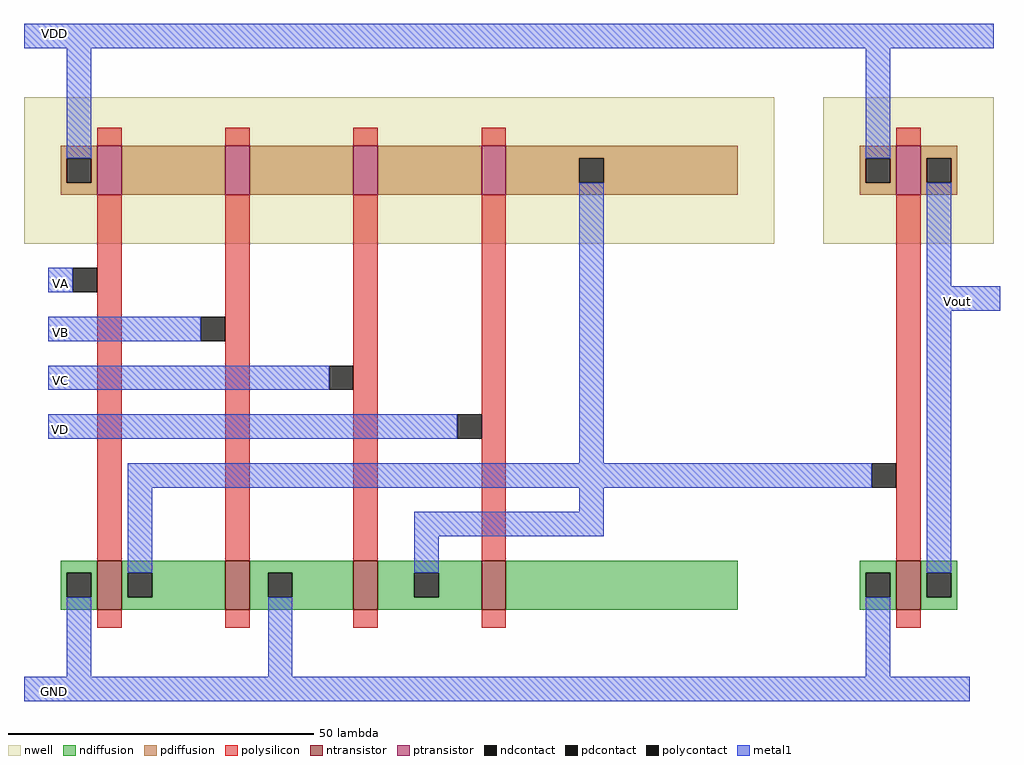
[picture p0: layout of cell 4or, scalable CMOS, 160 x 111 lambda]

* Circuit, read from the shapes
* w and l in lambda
.subckt 4or GND VA VB VC VD VDD Vout
M1 n1 VA GND VSUBS nfet w=8 l=4
M2 GND VB n1 VSUBS nfet w=8 l=4
M3 n1 VC GND VSUBS nfet w=8 l=4
M4 n2 VD n1 VSUBS nfet w=8 l=4
M5 Vout n1 GND VSUBS nfet w=8 l=4
M6 n3 VA VDD n4 pfet w=8 l=4
M7 n5 VB n3 n4 pfet w=8 l=4
M8 n6 VC n5 n4 pfet w=8 l=4
M9 n1 VD n6 n4 pfet w=8 l=4
M10 Vout n1 VDD n7 pfet w=8 l=4
.ends

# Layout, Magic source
magic
tech scmos
<< nwell >>
rect 161 -15 284 9
rect 292 -15 320 9
<< ntransistor >>
rect 173 -75 177 -67
rect 194 -75 198 -67
rect 215 -75 219 -67
rect 236 -75 240 -67
rect 304 -75 308 -67
<< ptransistor >>
rect 173 -7 177 1
rect 194 -7 198 1
rect 215 -7 219 1
rect 236 -7 240 1
rect 304 -7 308 1
<< ndiffusion >>
rect 167 -69 173 -67
rect 167 -73 168 -69
rect 172 -73 173 -69
rect 167 -75 173 -73
rect 177 -69 194 -67
rect 177 -73 178 -69
rect 182 -73 194 -69
rect 177 -75 194 -73
rect 198 -69 215 -67
rect 198 -73 201 -69
rect 205 -73 215 -69
rect 198 -75 215 -73
rect 219 -69 236 -67
rect 219 -73 225 -69
rect 229 -73 236 -69
rect 219 -75 236 -73
rect 240 -75 278 -67
rect 298 -69 304 -67
rect 298 -73 299 -69
rect 303 -73 304 -69
rect 298 -75 304 -73
rect 308 -69 314 -67
rect 308 -73 309 -69
rect 313 -73 314 -69
rect 308 -75 314 -73
<< pdiffusion >>
rect 167 -1 173 1
rect 167 -5 168 -1
rect 172 -5 173 -1
rect 167 -7 173 -5
rect 177 -7 194 1
rect 198 -7 215 1
rect 219 -7 236 1
rect 240 -1 278 1
rect 240 -5 252 -1
rect 256 -5 278 -1
rect 240 -7 278 -5
rect 298 -1 304 1
rect 298 -5 299 -1
rect 303 -5 304 -1
rect 298 -7 304 -5
rect 308 -1 314 1
rect 308 -5 309 -1
rect 313 -5 314 -1
rect 308 -7 314 -5
<< ndcontact >>
rect 168 -73 172 -69
rect 178 -73 182 -69
rect 201 -73 205 -69
rect 225 -73 229 -69
rect 299 -73 303 -69
rect 309 -73 313 -69
<< pdcontact >>
rect 168 -5 172 -1
rect 252 -5 256 -1
rect 299 -5 303 -1
rect 309 -5 313 -1
<< polysilicon >>
rect 173 1 177 4
rect 194 1 198 4
rect 215 1 219 4
rect 236 1 240 4
rect 304 1 308 4
rect 173 -67 177 -7
rect 194 -67 198 -7
rect 215 -67 219 -7
rect 236 -67 240 -7
rect 304 -67 308 -7
rect 173 -78 177 -75
rect 194 -78 198 -75
rect 215 -78 219 -75
rect 236 -78 240 -75
rect 304 -78 308 -75
<< polycontact >>
rect 169 -23 173 -19
rect 190 -31 194 -27
rect 211 -39 215 -35
rect 232 -47 236 -43
rect 300 -55 304 -51
<< metal1 >>
rect 161 17 320 21
rect 168 -1 172 17
rect 299 -1 303 17
rect 165 -23 169 -19
rect 165 -31 190 -27
rect 165 -39 211 -35
rect 165 -47 232 -43
rect 252 -51 256 -5
rect 309 -22 313 -5
rect 309 -26 321 -22
rect 178 -55 300 -51
rect 178 -69 182 -55
rect 252 -59 256 -55
rect 225 -63 256 -59
rect 225 -69 229 -63
rect 309 -69 313 -26
rect 168 -86 172 -73
rect 201 -86 205 -73
rect 299 -86 303 -73
rect 161 -90 316 -86
<< labels >>
rlabel metal1 165 19 167 20 4 VDD
rlabel metal1 166 -22 168 -21 1 VA
rlabel metal1 313 -25 315 -24 1 Vout
rlabel metal1 166 -30 168 -29 1 VB
rlabel metal1 166 -38 168 -37 1 VC
rlabel metal1 166 -46 168 -45 1 VD
rlabel metal1 165 -89 167 -88 2 GND
<< end >>
